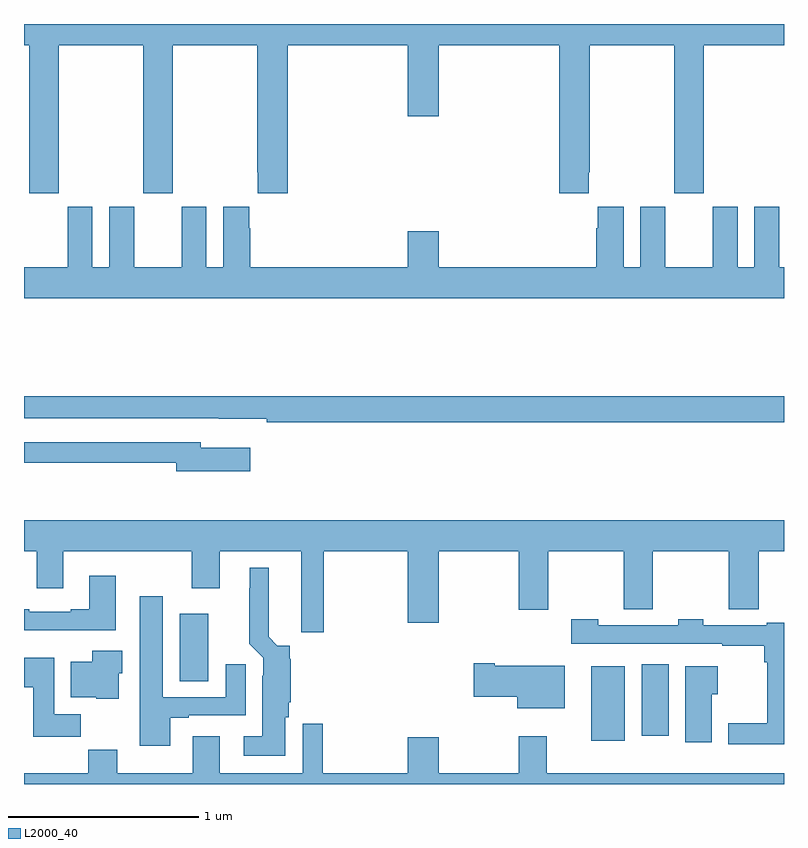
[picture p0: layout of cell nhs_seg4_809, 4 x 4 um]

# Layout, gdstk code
import gdstk
lib = gdstk.Library(unit=1e-6, precision=1e-09)
def R(c, l, rs):  # rectangles x0, y0, x1, y1
    for r in rs: c.add(gdstk.rectangle(r[:2], r[2:], *l))
def P(c, l, *ps):  # polygons
    for p in ps: c.add(gdstk.Polygon(p, *l))
L2000_40 = (2000, 40)

nhs_seg4_809 = lib.new_cell('nhs_seg4_809')
R(nhs_seg4_809, L2000_40, [(153.986,825.128,154.162,825.52), (154.25,825.153,154.393,825.529), (151.82,825.442,151.969,825.796)])
P(nhs_seg4_809, L2000_40, [(152.227,828.121),(152.231,828.121),(152.231,828.009),(152.387,828.009),(152.387,828.788),(153.02,828.788),(153.02,828.414),(153.184,828.414),(153.184,828.788),(153.818,828.788),(153.818,828.009),(153.973,828.009),(153.973,828.121),(153.978,828.121),(153.978,828.788),(154.423,828.788),(154.423,828.009),(154.578,828.009),(154.578,828.788),(155,828.788),(155,828.9),(151,828.9),(151,828.788),(151.027,828.788),(151.027,828.009),(151.182,828.009),(151.182,828.788),(151.627,828.788),(151.627,828.009),(151.782,828.009),(151.782,828.788),(152.227,828.788)],
  [(155,827.62),(154.975,827.62),(154.975,827.938),(154.844,827.938),(154.844,827.62),(154.756,827.62),(154.756,827.938),(154.625,827.938),(154.625,827.62),(154.375,827.62),(154.375,827.938),(154.244,827.938),(154.244,827.62),(154.156,827.62),(154.156,827.938),(154.019,827.938),(154.019,827.825),(154.013,827.825),(154.013,827.62),(153.184,827.62),(153.184,827.809),(153.02,827.809),(153.02,827.62),(152.192,827.62),(152.192,827.825),(152.185,827.825),(152.185,827.938),(152.048,827.938),(152.048,827.62),(151.96,827.62),(151.96,827.938),(151.829,827.938),(151.829,827.62),(151.579,827.62),(151.579,827.938),(151.448,827.938),(151.448,827.62),(151.36,827.62),(151.36,827.938),(151.229,827.938),(151.229,827.62),(151,827.62),(151,827.456),(155,827.456)],
  [(155,826.94),(151,826.94),(151,826.824),(152.026,826.824),(152.026,826.823),(152.278,826.823),(152.278,826.804),(155,826.804)],
  [(152.191,826.669),(151.93,826.669),(151.93,826.698),(151,826.698),(151,826.59),(151.802,826.59),(151.802,826.547),(152.191,826.547)],
  [(152.577,826.124),(153.02,826.124),(153.02,825.75),(153.184,825.75),(153.184,826.124),(153.604,826.124),(153.604,825.816),(153.759,825.816),(153.759,826.124),(154.156,826.124),(154.156,825.82),(154.31,825.82),(154.31,826.124),(154.708,826.124),(154.708,825.82),(154.868,825.82),(154.868,826.124),(155,826.124),(155,826.288),(151,826.288),(151,826.124),(151.067,826.124),(151.067,825.93),(151.207,825.93),(151.207,826.124),(151.882,826.124),(151.882,825.93),(152.029,825.93),(152.029,826.124),(152.459,826.124),(152.459,825.699),(152.577,825.699)],
  [(152.374,825.252),(152.393,825.252),(152.393,825.33),(152.405,825.33),(152.405,825.557),(152.399,825.563),(152.399,825.628),(152.334,825.628),(152.287,825.676),(152.287,826.039),(152.189,826.039),(152.189,825.929),(152.185,825.929),(152.185,825.638),(152.259,825.564),(152.259,825.47),(152.255,825.47),(152.255,825.151),(152.157,825.151),(152.157,825.05),(152.374,825.05)],
  [(151.483,825.997),(151.343,825.997),(151.343,825.82),(151.247,825.82),(151.247,825.807),(151.027,825.807),(151.027,825.82),(151,825.82),(151,825.71),(151.483,825.71)],
  [(151.771,825.249),(151.867,825.249),(151.867,825.261),(152.167,825.261),(152.167,825.529),(152.063,825.529),(152.063,825.357),(151.729,825.357),(151.729,825.889),(151.61,825.889),(151.61,825.102),(151.771,825.102)],
  [(155,825.748),(154.91,825.748),(154.91,825.735),(154.575,825.735),(154.575,825.768),(154.443,825.768),(154.443,825.735),(154.023,825.735),(154.023,825.768),(153.879,825.768),(153.879,825.639),(154.675,825.639),(154.675,825.627),(154.897,825.627),(154.897,825.542),(154.912,825.542),(154.912,825.22),(154.707,825.22),(154.707,825.11),(155,825.11)],
  [(151.498,825.483),(151.516,825.483),(151.516,825.601),(151.358,825.601),(151.358,825.544),(151.247,825.544),(151.247,825.356),(151.38,825.356),(151.38,825.35),(151.498,825.35)],
  [(151.298,825.268),(151.159,825.268),(151.159,825.565),(151,825.565),(151,825.409),(151.049,825.409),(151.049,825.15),(151.298,825.15)],
  [(153.847,825.523),(153.478,825.523),(153.478,825.536),(153.366,825.536),(153.366,825.358),(153.596,825.358),(153.596,825.299),(153.847,825.299)],
  [(154.621,825.373),(154.651,825.373),(154.651,825.52),(154.481,825.52),(154.481,825.12),(154.621,825.12)],
  [(155,824.956),(153.751,824.956),(153.751,825.151),(153.604,825.151),(153.604,824.956),(153.184,824.956),(153.184,825.145),(153.02,825.145),(153.02,824.956),(152.572,824.956),(152.572,825.217),(152.466,825.217),(152.466,824.956),(152.029,824.956),(152.029,825.151),(151.889,825.151),(151.889,824.956),(151.491,824.956),(151.491,825.08),(151.339,825.08),(151.339,824.956),(151,824.956),(151,824.9),(155,824.9)])

lib.write_gds('nhs_seg4_809.gds')
